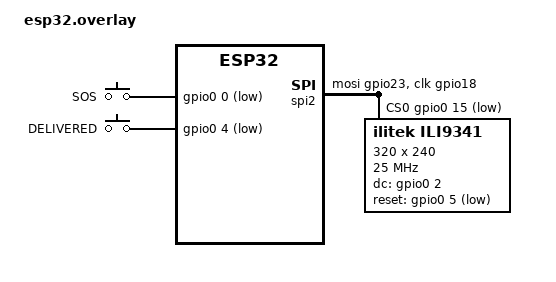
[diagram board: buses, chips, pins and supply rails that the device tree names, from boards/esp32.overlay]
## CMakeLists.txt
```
cmake_minimum_required(VERSION 3.20.0)

# Find Zephyr before the project() call so the toolchain is set correctly.
find_package(Zephyr REQUIRED HINTS $ENV{ZEPHYR_BASE})

project(courier_rugged VERSION 1.0.0 LANGUAGES C)

# =============================================================================
# Source files
# =============================================================================
target_sources(app PRIVATE
    src/main.c
    src/mqtt_handler.c
    src/gps_task.c
    src/courier_state.c
    src/ui/ui.c
)

# =============================================================================
# Include directories
# =============================================================================
target_include_directories(app PRIVATE
    src
    src/ui
)

# =============================================================================
# Compile definitions
# =============================================================================
# Set at build time: employee ID, WiFi credentials, broker address.
# Override via: cmake -DEMPLOYEE_ID='"E042"' ...
# In the future these come from NVS provisioning, not compile-time constants.
if(NOT DEFINED EMPLOYEE_ID)
    set(EMPLOYEE_ID "\"E001\"")
endif()
if(NOT DEFINED WIFI_SSID)
    set(WIFI_SSID "\"DHL_Logistics\"")
endif()
if(NOT DEFINED WIFI_PSK)
    set(WIFI_PSK "\"changeme\"")
endif()
if(NOT DEFINED MQTT_BROKER_ADDR)
    set(MQTT_BROKER_ADDR "\"192.168.1.100\"")   # RabbitMQ host (host-gateway)
endif()
if(NOT DEFINED MQTT_BROKER_PORT)
    set(MQTT_BROKER_PORT 1883)
endif()

target_compile_definitions(app PRIVATE
    EMPLOYEE_ID=${EMPLOYEE_ID}
    WIFI_SSID=${WIFI_SSID}
    WIFI_PSK=${WIFI_PSK}
    MQTT_BROKER_ADDR=${MQTT_BROKER_ADDR}
    MQTT_BROKER_PORT=${MQTT_BROKER_PORT}
)
```

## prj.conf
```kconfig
# =============================================================================
# Courier Rugged System — Zephyr project configuration
# Target: ESP32 (esp32_devkitc_wroom)
# =============================================================================

# -----------------------------------------------------------------------------
# Networking — WiFi + TCP/IP stack
# -----------------------------------------------------------------------------
CONFIG_WIFI=y
CONFIG_ESP32_WIFI=y
CONFIG_NET_L2_ETHERNET=y
CONFIG_NET_IPV4=y
CONFIG_NET_TCP=y
CONFIG_NET_SOCKETS=y
CONFIG_NET_SOCKETS_POSIX_NAMES=y
CONFIG_NET_DHCPV4=y
CONFIG_DNS_RESOLVER=y

# Network buffer pool — sized for MQTT + JSON payloads
CONFIG_NET_PKT_RX_COUNT=16
CONFIG_NET_PKT_TX_COUNT=16
CONFIG_NET_BUF_RX_COUNT=64
CONFIG_NET_BUF_TX_COUNT=64

# -----------------------------------------------------------------------------
# MQTT
# -----------------------------------------------------------------------------
CONFIG_MQTT_LIB=y
CONFIG_MQTT_CLEAN_SESSION=y
# Keep-alive interval in seconds (half the broker's session timeout)
CONFIG_MQTT_KEEPALIVE=60
# Maximum MQTT packet size: enough for a route list of ~20 stops
CONFIG_MQTT_LIB_TLS_MAX_FRAGMENT_LEN=0

# -----------------------------------------------------------------------------
# JSON
# -----------------------------------------------------------------------------
CONFIG_JSON_LIBRARY=y

# -----------------------------------------------------------------------------
# LVGL — embedded GUI
# -----------------------------------------------------------------------------
CONFIG_LVGL=y
CONFIG_LV_USE_LABEL=y
CONFIG_LV_USE_BTN=y
CONFIG_LV_USE_CONT=y
CONFIG_LV_USE_STYLE=y
CONFIG_LV_FONT_DEFAULT_MONTSERRAT_14=y
# Display driver — SPI-connected ILI9341 (320x240)
CONFIG_DISPLAY=y
CONFIG_DISPLAY_ILI9341=y
CONFIG_SPI=y

# -----------------------------------------------------------------------------
# GPIO — buttons
# -----------------------------------------------------------------------------
CONFIG_GPIO=y

# -----------------------------------------------------------------------------
# Heap & stacks
# -----------------------------------------------------------------------------
CONFIG_HEAP_MEM_POOL_SIZE=32768
CONFIG_MAIN_STACK_SIZE=4096
CONFIG_SYSTEM_WORKQUEUE_STACK_SIZE=2048

# -----------------------------------------------------------------------------
# Threads
# -----------------------------------------------------------------------------
CONFIG_NUM_PREEMPT_PRIORITIES=16
CONFIG_THREAD_STACK_INFO=y
CONFIG_THREAD_NAME=y

# -----------------------------------------------------------------------------
# Logging
# -----------------------------------------------------------------------------
CONFIG_LOG=y
CONFIG_LOG_DEFAULT_LEVEL=3
CONFIG_LOG_BACKEND_UART=y
CONFIG_UART_CONSOLE=y

# -----------------------------------------------------------------------------
# NVS — non-volatile storage for employee_id and WiFi credentials
# -----------------------------------------------------------------------------
CONFIG_NVS=y
CONFIG_FLASH=y
CONFIG_FLASH_MAP=y

# -----------------------------------------------------------------------------
# RTC / Uptime for timestamps
# -----------------------------------------------------------------------------
CONFIG_CLOCK_CONTROL=y

# -----------------------------------------------------------------------------
# Assertions (disable in production to save flash)
# -----------------------------------------------------------------------------
CONFIG_ASSERT=y
```

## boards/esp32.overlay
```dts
/*
 * boards/esp32.overlay
 * Device-tree overlay for ESP32 DevKitC WROOM
 *
 * Wiring assumed:
 *   SOS button      GPIO 0  (active-low, internal pull-up)
 *   Delivered button GPIO 4  (active-low, internal pull-up)
 *   ILI9341 CS      GPIO 15
 *   ILI9341 DC      GPIO 2
 *   ILI9341 RESET   GPIO 5
 *   ILI9341 MOSI    GPIO 23  (SPI2 MOSI)
 *   ILI9341 CLK     GPIO 18  (SPI2 CLK)
 */

/ {
    buttons {
        compatible = "gpio-keys";

        sos_button: sos_button {
            label = "SOS";
            gpios = <&gpio0 0 (GPIO_ACTIVE_LOW | GPIO_PULL_UP)>;
        };

        delivered_button: delivered_button {
            label = "DELIVERED";
            gpios = <&gpio0 4 (GPIO_ACTIVE_LOW | GPIO_PULL_UP)>;
        };
    };

    aliases {
        sos-btn       = &sos_button;
        delivered-btn = &delivered_button;
    };
};

/* ILI9341 over SPI2 */
&spi2 {
    status = "okay";
    pinctrl-0 = <&spim2_mosi_gpio23 &spim2_clk_gpio18>;
    pinctrl-names = "default";
    cs-gpios = <&gpio0 15 GPIO_ACTIVE_LOW>;

    ili9341: ili9341@0 {
        compatible = "ilitek,ili9341";
        reg = <0>;
        spi-max-frequency = <25000000>;
        width  = <320>;
        height = <240>;
        dc-gpios    = <&gpio0 2  GPIO_ACTIVE_HIGH>;
        reset-gpios = <&gpio0 5  GPIO_ACTIVE_LOW>;
    };
};
```

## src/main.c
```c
/**
 * @file main.c
 * @brief Courier Rugged System — Zephyr RTOS entry point.
 *
 * Thread layout and priorities (lower number = higher priority):
 *
 *   Priority 5  SOS ISR thread        — gpio callback → k_sem → publish
 *   Priority 6  Delivered ISR thread  — gpio callback → k_sem → publish
 *   Priority 7  MQTT handler thread   — receive loop, keepalive
 *   Priority 7  GPS work (workqueue)  — k_work_delayable, 5-second interval
 *   Priority 10 UI task               — LVGL tick, 10 ms
 *
 */

#include "courier_state.h"
#include "gps_task.h"
#include "mqtt_handler.h"
#include "ui/ui.h"

#include <zephyr/drivers/gpio.h>
#include <zephyr/kernel.h>
#include <zephyr/logging/log.h>
#include <zephyr/net/net_event.h>
#include <zephyr/net/net_if.h>
#include <zephyr/net/wifi_mgmt.h>

LOG_MODULE_REGISTER(main, LOG_LEVEL_INF);

/* ---------------------------------------------------------------------------
 * Thread stacks and definitions
 * ------------------------------------------------------------------------- */

#define MQTT_TASK_STACK 4096
#define SOS_TASK_STACK 2048
#define DELIVERED_STACK 2048
#define UI_TASK_STACK 4096

K_THREAD_STACK_DEFINE(mqtt_stack, MQTT_TASK_STACK);
K_THREAD_STACK_DEFINE(sos_stack, SOS_TASK_STACK);
K_THREAD_STACK_DEFINE(delivered_stack, DELIVERED_STACK);
K_THREAD_STACK_DEFINE(ui_stack, UI_TASK_STACK);

static struct k_thread mqtt_thread;
static struct k_thread sos_thread;
static struct k_thread delivered_thread;
static struct k_thread ui_thread;

/* ---------------------------------------------------------------------------
 * Button GPIO
 * ------------------------------------------------------------------------- */

static const struct gpio_dt_spec s_sos_btn = GPIO_DT_SPEC_GET(DT_ALIAS(sos_btn), gpios);
static const struct gpio_dt_spec s_delivered_btn = GPIO_DT_SPEC_GET(DT_ALIAS(delivered_btn), gpios);

static struct gpio_callback s_sos_cb_data;
static struct gpio_callback s_delivered_cb_data;

/* Semaphores — ISR signals, task waits */
static K_SEM_DEFINE(s_sos_sem, 0, 1);
static K_SEM_DEFINE(s_delivered_sem, 0, 1);

static void sos_isr(const struct device* dev, struct gpio_callback* cb, uint32_t pins)
{
    ARG_UNUSED(dev);
    ARG_UNUSED(cb);
    ARG_UNUSED(pins);
    k_sem_give(&s_sos_sem);
}

static void delivered_isr(const struct device* dev, struct gpio_callback* cb, uint32_t pins)
{
    ARG_UNUSED(dev);
    ARG_UNUSED(cb);
    ARG_UNUSED(pins);
    k_sem_give(&s_delivered_sem);
}

/* ---------------------------------------------------------------------------
 * SOS thread — priority 5 (highest in the system)
 * Waits on semaphore given by GPIO ISR. No other work happens here.
 * ------------------------------------------------------------------------- */

static void sos_task(void* p1, void* p2, void* p3)
{
    ARG_UNUSED(p1);
    ARG_UNUSED(p2);
    ARG_UNUSED(p3);
    LOG_INF("SOS task ready");

    while (1)
    {
        k_sem_take(&s_sos_sem, K_FOREVER);

        LOG_WRN("SOS activated!");

        gps_fix_t fix;
        courier_state_get_gps(&fix);
        mqtt_handler_publish_sos(fix.lat_e6, fix.lon_e6);

        /* Debounce: ignore repeated presses for 500 ms */
        k_sleep(K_MSEC(500));
    }
}

/* ---------------------------------------------------------------------------
 * Delivered thread — priority 6
 * ------------------------------------------------------------------------- */

static void delivered_task(void* p1, void* p2, void* p3)
{
    ARG_UNUSED(p1);
    ARG_UNUSED(p2);
    ARG_UNUSED(p3);
    LOG_INF("Delivered task ready");

    while (1)
    {
        k_sem_take(&s_delivered_sem, K_FOREVER);

        char stop_name[MAX_STOP_NAME];
        courier_state_get_current_stop(stop_name, sizeof(stop_name));
        mqtt_handler_publish_delivered(stop_name);
        courier_state_advance_stop();
        ui_notify_route_updated();

        k_sleep(K_MSEC(300));
    }
}

/* ---------------------------------------------------------------------------
 * WiFi — connect and wait for IP address
 * ------------------------------------------------------------------------- */

static struct net_mgmt_event_callback s_wifi_cb;
static K_SEM_DEFINE(s_wifi_sem, 0, 1);

static void wifi_event_handler(struct net_mgmt_event_callback* cb, uint32_t mgmt_event, struct net_if* iface)
{
    ARG_UNUSED(cb);
    ARG_UNUSED(iface);

    if (mgmt_event == NET_EVENT_IPV4_ADDR_ADD)
    {
        LOG_INF("WiFi: IP address assigned");
        k_sem_give(&s_wifi_sem);
    }
}

static int wifi_connect(void)
{
    struct net_if* iface = net_if_get_default();

    net_mgmt_init_event_callback(&s_wifi_cb, wifi_event_handler, NET_EVENT_IPV4_ADDR_ADD);
    net_mgmt_add_event_callback(&s_wifi_cb);

    struct wifi_connect_req_params params = {
        .ssid = (uint8_t*)WIFI_SSID,
        .ssid_length = strlen(WIFI_SSID),
        .psk = (uint8_t*)WIFI_PSK,
        .psk_length = strlen(WIFI_PSK),
        .security = WIFI_SECURITY_TYPE_PSK,
        .channel = WIFI_CHANNEL_ANY,
    };

    int rc = net_mgmt(NET_REQUEST_WIFI_CONNECT, iface, &params, sizeof(params));
    if (rc != 0)
    {
        LOG_ERR("WiFi connect request failed: %d", rc);
        return rc;
    }

    LOG_INF("WiFi: connecting to %s ...", WIFI_SSID);

    /* Wait up to 30 seconds for IP assignment */
    if (k_sem_take(&s_wifi_sem, K_SECONDS(30)) != 0)
    {
        LOG_ERR("WiFi: timed out waiting for IP");
        return -ETIMEDOUT;
    }

    return 0;
}

/* ---------------------------------------------------------------------------
 * GPIO button initialisation
 * ------------------------------------------------------------------------- */

static int buttons_init(void)
{
    int rc;

    if (!device_is_ready(s_sos_btn.port) || !device_is_ready(s_delivered_btn.port))
    {
        LOG_ERR("Button GPIO devices not ready");
        return -ENODEV;
    }

    rc = gpio_pin_configure_dt(&s_sos_btn, GPIO_INPUT);
    if (rc != 0)
    {
        LOG_ERR("SOS pin config failed: %d", rc);
        return rc;
    }

    rc = gpio_pin_configure_dt(&s_delivered_btn, GPIO_INPUT);
    if (rc != 0)
    {
        LOG_ERR("Delivered pin config failed: %d", rc);
        return rc;
    }

    gpio_init_callback(&s_sos_cb_data, sos_isr, BIT(s_sos_btn.pin));
    gpio_init_callback(&s_delivered_cb_data, delivered_isr, BIT(s_delivered_btn.pin));

    gpio_add_callback(s_sos_btn.port, &s_sos_cb_data);
    gpio_add_callback(s_delivered_btn.port, &s_delivered_cb_data);

    gpio_pin_interrupt_configure_dt(&s_sos_btn, GPIO_INT_EDGE_TO_ACTIVE);
    gpio_pin_interrupt_configure_dt(&s_delivered_btn, GPIO_INT_EDGE_TO_ACTIVE);

    LOG_INF("Buttons initialised (SOS=GPIO%d, Delivered=GPIO%d)", s_sos_btn.pin, s_delivered_btn.pin);
    return 0;
}

/* ---------------------------------------------------------------------------
 * main()
 * ------------------------------------------------------------------------- */

int main(void)
{
    LOG_INF("=== DHL Courier Rugged System v1.0 ===");
    LOG_INF("Employee: %s", EMPLOYEE_ID);

    /* 1. Shared state */
    courier_state_init(EMPLOYEE_ID);

    /* 2. GPIO buttons (interrupts ready before network) */
    if (buttons_init() != 0)
    {
        LOG_ERR("Button init failed — SOS unavailable");
        /* Non-fatal: continue without hardware buttons */
    }

    /* 3. Start UI task early so the screen shows a "Connecting..." state
     *    while WiFi and MQTT negotiate. */
    k_thread_create(&ui_thread, ui_stack, UI_TASK_STACK, ui_task, NULL, NULL, NULL, 10, 0, K_NO_WAIT);
    k_thread_name_set(&ui_thread, "ui");

    /* 4. Connect to WiFi */
    if (wifi_connect() != 0)
    {
        LOG_ERR("WiFi connection failed — retrying in 10 s");
        k_sleep(K_SECONDS(10));
        /* In production: persist state to NVS and reset */
    }

    /* 5. Connect to MQTT broker (RabbitMQ MQTT plugin on port 1883) */
    int rc = mqtt_handler_init(MQTT_BROKER_ADDR, MQTT_BROKER_PORT, EMPLOYEE_ID);
    if (rc != MQTT_OK)
    {
        LOG_ERR("MQTT init failed: %d", rc);
        /* The MQTT task will retry automatically */
    }

    /* 6. Subscribe to routes/{employee_id} */
    mqtt_handler_subscribe_routes();

    /* 7. Start the MQTT receive/keepalive task */
    k_thread_create(&mqtt_thread, mqtt_stack, MQTT_TASK_STACK, mqtt_handler_task, NULL, NULL, NULL, 7, 0, K_NO_WAIT);
    k_thread_name_set(&mqtt_thread, "mqtt");

    /* 8. Start SOS thread (highest priority) */
    k_thread_create(&sos_thread, sos_stack, SOS_TASK_STACK, sos_task, NULL, NULL, NULL, 5, 0, K_NO_WAIT);
    k_thread_name_set(&sos_thread, "sos");

    /* 9. Start Delivered thread */
    k_thread_create(&delivered_thread, delivered_stack, DELIVERED_STACK, delivered_task, NULL, NULL, NULL, 6, 0,
                    K_NO_WAIT);
    k_thread_name_set(&delivered_thread, "delivered");

    /* 10. Start GPS polling (k_work_delayable on system workqueue) */
    gps_task_init();

    LOG_INF("All tasks started — device operational");
    return 0;
}
```

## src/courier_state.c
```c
#include "courier_state.h"

#include <string.h>

#if defined(__ZEPHYR__)
#include <zephyr/logging/log.h>
#else
#include <pthread.h>
#include <stdio.h>

#define LOG_MODULE_REGISTER(name, level)
#define LOG_INF(...)                                                                                                   \
    do                                                                                                                 \
    {                                                                                                                  \
        fprintf(stderr, __VA_ARGS__);                                                                                  \
        fputc('\n', stderr);                                                                                           \
    } while (0)
#define LOG_DBG(...)                                                                                                   \
    do                                                                                                                 \
    {                                                                                                                  \
    } while (0)
#define LOG_WRN(...)                                                                                                   \
    do                                                                                                                 \
    {                                                                                                                  \
        fprintf(stderr, __VA_ARGS__);                                                                                  \
        fputc('\n', stderr);                                                                                           \
    } while (0)
#define LOG_ERR(...)                                                                                                   \
    do                                                                                                                 \
    {                                                                                                                  \
        fprintf(stderr, __VA_ARGS__);                                                                                  \
        fputc('\n', stderr);                                                                                           \
    } while (0)

/* Only define mutex stubs when NOT in simulation mode (main_sim.cpp provides them in simulation) */
#ifndef COURIER_SIMULATION
static inline int k_mutex_init(struct k_mutex* mu)
{
    return pthread_mutex_init(&mu->m, NULL);
}

static inline int k_mutex_lock(struct k_mutex* mu, int timeout)
{
    (void)timeout;
    return pthread_mutex_lock(&mu->m);
}

static inline int k_mutex_unlock(struct k_mutex* mu)
{
    return pthread_mutex_unlock(&mu->m);
}
#endif /* COURIER_SIMULATION */
#endif

LOG_MODULE_REGISTER(courier_state, LOG_LEVEL_DBG);

courier_state_t g_courier;

void courier_state_init(const char* employee_id)
{
    k_mutex_init(&g_courier.lock);

    k_mutex_lock(&g_courier.lock, K_FOREVER);
    memset(&g_courier, 0, sizeof(g_courier));
    k_mutex_init(&g_courier.lock); /* re-init after memset */
    strncpy(g_courier.employee_id, employee_id, MAX_EMPLOYEE_ID - 1);
    g_courier.employee_id[MAX_EMPLOYEE_ID - 1] = '\0';
    g_courier.stop_count = 0;
    g_courier.current_stop_idx = 0;
    g_courier.gps.fix_valid = false;
    k_mutex_unlock(&g_courier.lock);

    LOG_INF("State initialised for employee: %s", employee_id);
}

bool courier_state_get_current_stop(char* buf, size_t buf_len)
{
    bool ok = false;

    k_mutex_lock(&g_courier.lock, K_FOREVER);
    if (g_courier.stop_count > 0 && g_courier.current_stop_idx < g_courier.stop_count)
    {
        strncpy(buf, g_courier.stops[g_courier.current_stop_idx], buf_len - 1);
        buf[buf_len - 1] = '\0';
        ok = true;
    }
    else
    {
        strncpy(buf, "---", buf_len - 1);
        buf[buf_len - 1] = '\0';
    }
    k_mutex_unlock(&g_courier.lock);
    return ok;
}

bool courier_state_get_next_stop(char* buf, size_t buf_len)
{
    bool ok = false;

    k_mutex_lock(&g_courier.lock, K_FOREVER);
    int next = g_courier.current_stop_idx + 1;
    if (next < g_courier.stop_count)
    {
        strncpy(buf, g_courier.stops[next], buf_len - 1);
        buf[buf_len - 1] = '\0';
        ok = true;
    }
    else
    {
        strncpy(buf, "---", buf_len - 1);
        buf[buf_len - 1] = '\0';
    }
    k_mutex_unlock(&g_courier.lock);
    return ok;
}

bool courier_state_advance_stop(void)
{
    bool more = false;

    k_mutex_lock(&g_courier.lock, K_FOREVER);
    if (g_courier.current_stop_idx + 1 < g_courier.stop_count)
    {
        g_courier.current_stop_idx++;
        more = true;
        LOG_INF("Advanced to stop %d: %s", g_courier.current_stop_idx, g_courier.stops[g_courier.current_stop_idx]);
    }
    else
    {
        LOG_INF("All stops completed.");
    }
    k_mutex_unlock(&g_courier.lock);
    return more;
}

void courier_state_update_gps(int32_t lat_e6, int32_t lon_e6, bool valid)
{
    k_mutex_lock(&g_courier.lock, K_FOREVER);
    g_courier.gps.lat_e6 = lat_e6;
    g_courier.gps.lon_e6 = lon_e6;
    g_courier.gps.fix_valid = valid;
    k_mutex_unlock(&g_courier.lock);
}

void courier_state_get_gps(gps_fix_t* out)
{
    k_mutex_lock(&g_courier.lock, K_FOREVER);
    *out = g_courier.gps;
    k_mutex_unlock(&g_courier.lock);
}
```

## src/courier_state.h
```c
/**
 * @file courier_state.h
 * @brief Shared courier state — stop list, current position, GPS fix.
 *
 * All fields are protected by a single mutex so any task can safely read or write.
 */

#ifndef COURIER_STATE_H
#define COURIER_STATE_H

#include <stdbool.h>
#include <stddef.h>
#include <stdint.h>

#if defined(__ZEPHYR__)
#include <zephyr/kernel.h>
#else
#include <pthread.h>

/* Host-test compatibility path (no Zephyr SDK). */
#define ZEPHYR_STUB_TYPES 1

struct k_mutex
{
    pthread_mutex_t m;
};

/* Declare but don't define — they will be defined as static inline in courier_state.c */
int k_mutex_init(struct k_mutex* mu);
int k_mutex_lock(struct k_mutex* mu, int timeout);
int k_mutex_unlock(struct k_mutex* mu);

#ifndef K_FOREVER
#define K_FOREVER (-1)
#endif
#endif

/** Maximum number of stops in a single route. */
#define MAX_STOPS 32

/** Maximum length of a stop name, including null terminator. */
#define MAX_STOP_NAME 64

/** Employee ID string maximum length. */
#define MAX_EMPLOYEE_ID 32

/**
 * @brief GPS fix data.
 * lat and lon are in decimal degrees × 1e6 (integer fixed-point).
 * fix_valid is false when the GPS module has not yet acquired a fix.
 */
typedef struct
{
    int32_t lat_e6; /**< Latitude  × 1,000,000 (e.g. -31400000 = -31.4°) */
    int32_t lon_e6; /**< Longitude × 1,000,000 */
    bool fix_valid; /**< True once a valid fix has been received. */
} gps_fix_t;

/**
 * @brief Complete courier runtime state.
 */
typedef struct
{
    /** Protects all fields below. Acquire before any read or write. */
    struct k_mutex lock;

    /** Employee identifier string, e.g. "E042". */
    char employee_id[MAX_EMPLOYEE_ID];

    /** Ordered list of stop names received from routes/{employee_id}. */
    char stops[MAX_STOPS][MAX_STOP_NAME];

    /** Number of valid entries in stops[]. */
    int stop_count;

    /** Index of the stop the courier is currently heading to. */
    int current_stop_idx;

    /** Latest GPS fix. */
    gps_fix_t gps;
} courier_state_t;

/* -------------------------------------------------------------------------
 * Global instance — defined in courier_state.c
 * ------------------------------------------------------------------------- */
extern courier_state_t g_courier;

/**
 * @brief Initialise the global state and its mutex.
 * Must be called once from main() before any task starts.
 */
void courier_state_init(const char* employee_id);

/**
 * @brief Copy the current stop name into buf (null-terminated).
 * Returns false and writes "---" if no stops are loaded.
 */
bool courier_state_get_current_stop(char* buf, size_t buf_len);

/**
 * @brief Copy the next stop name into buf (null-terminated).
 * Returns false and writes "---" if this is the last stop.
 */
bool courier_state_get_next_stop(char* buf, size_t buf_len);

/**
 * @brief Advance to the next stop. Returns true if there are more stops.
 */
bool courier_state_advance_stop(void);

/**
 * @brief Update the GPS fix. Thread-safe.
 */
void courier_state_update_gps(int32_t lat_e6, int32_t lon_e6, bool valid);

/**
 * @brief Copy the current GPS fix. Thread-safe.
 */
void courier_state_get_gps(gps_fix_t* out);

#endif /* COURIER_STATE_H */
```

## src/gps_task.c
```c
#include "gps_task.h"
#include "courier_state.h"
#include "mqtt_handler.h"

#include <zephyr/kernel.h>
#include <zephyr/logging/log.h>

LOG_MODULE_REGISTER(gps_task, LOG_LEVEL_DBG);

/* ---------------------------------------------------------------------------
 * k_work_delayable — GPS publish work item.
 *
 * Using k_work_delayable (not a bare timer) means the GPS work runs on the
 * system workqueue thread, not in interrupt context. It can therefore safely
 * call mqtt_handler_publish_tracking() which acquires a mutex.
 *
 * The work handler reschedules itself — this creates a self-perpetuating
 * 5-second cycle without any dedicated GPS thread.
 * ------------------------------------------------------------------------- */

#define GPS_INTERVAL_MS 5000

static struct k_work_delayable s_gps_work;

/* ---------------------------------------------------------------------------
 * Hardware abstraction — replace with real UART/I2C GPS driver.
 *
 * In simulation (Qt build) this is replaced by gps_task_sim.c which feeds
 * scripted coordinates. On hardware, connect a NMEA GPS module to UART1 and
 * parse $GPRMC or $GPGGA sentences.
 * ------------------------------------------------------------------------- */

__attribute__((weak))
bool gps_hal_read(int32_t *lat_e6, int32_t *lon_e6)
{
    /* Default stub: no fix. Replace with real driver. */
    (void)lat_e6;
    (void)lon_e6;
    return false;
}

/* ---------------------------------------------------------------------------
 * Work handler — runs on system workqueue every GPS_INTERVAL_MS
 * ------------------------------------------------------------------------- */

static void gps_work_handler(struct k_work *work)
{
    int32_t lat_e6, lon_e6;
    bool    fix_valid = gps_hal_read(&lat_e6, &lon_e6);

    if (!fix_valid)
    {
        LOG_WRN("GPS: no fix — will retry in %d ms", GPS_INTERVAL_MS);
        /* Update state with invalid fix so UI can show "No GPS" if needed */
        courier_state_update_gps(0, 0, false);
    }
    else
    {
        LOG_DBG("GPS fix: lat=%d.%06d lon=%d.%06d",
                (int)(lat_e6 / 1000000), (int)abs(lat_e6 % 1000000),
                (int)(lon_e6 / 1000000), (int)abs(lon_e6 % 1000000));

        courier_state_update_gps(lat_e6, lon_e6, true);
        mqtt_handler_publish_tracking(lat_e6, lon_e6, true);
    }

    /* Reschedule — always, whether fix was valid or not */
    k_work_reschedule(&s_gps_work, K_MSEC(GPS_INTERVAL_MS));
}

/* ---------------------------------------------------------------------------
 * Public API
 * ------------------------------------------------------------------------- */

void gps_task_init(void)
{
    k_work_init_delayable(&s_gps_work, gps_work_handler);
    /* First execution after 1 s to let the network stack settle */
    k_work_schedule(&s_gps_work, K_SECONDS(1));
    LOG_INF("GPS task scheduled (interval=%d ms)", GPS_INTERVAL_MS);
}
```

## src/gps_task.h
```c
#ifndef GPS_TASK_H
#define GPS_TASK_H

#include <stdbool.h>
#include <stdint.h>

/**
 * @brief Initialise and start the GPS polling work item.
 * Safe to call from main() after WiFi and MQTT are up.
 */
void gps_task_init(void);

/**
 * @brief GPS hardware abstraction — implemented by the BSP or simulation.
 *
 * @param lat_e6  Output latitude  × 1e6.
 * @param lon_e6  Output longitude × 1e6.
 * @return true if a valid fix was obtained, false otherwise.
 */
bool gps_hal_read(int32_t *lat_e6, int32_t *lon_e6);

#endif /* GPS_TASK_H */
```

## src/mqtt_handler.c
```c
#include "mqtt_handler.h"
#include "courier_state.h"
#include "ui/ui.h"

#include <stdio.h>
#include <stdlib.h>
#include <string.h>

#if defined(COURIER_SIMULATION) && defined(MQTT_BACKEND_MOSQUITTO)
#include <mosquitto.h>
#endif

#ifndef COURIER_SIMULATION
#include <zephyr/data/json.h>
#include <zephyr/kernel.h>
#include <zephyr/logging/log.h>
#include <zephyr/net/mqtt.h>
#include <zephyr/net/socket.h>

LOG_MODULE_REGISTER(mqtt_handler, LOG_LEVEL_DBG);
#else
/* Simulation stubs — allow compilation without Zephyr */
#define LOG_INF(fmt, ...) printf("[INFO] " fmt "\n", ##__VA_ARGS__)
#define LOG_ERR(fmt, ...) printf("[ERROR] " fmt "\n", ##__VA_ARGS__)
#define LOG_WRN(fmt, ...) printf("[WARN] " fmt "\n", ##__VA_ARGS__)
#define LOG_DBG(fmt, ...) printf("[DEBUG] " fmt "\n", ##__VA_ARGS__)
#define ARG_UNUSED(x) (void)(x)
#endif

#ifndef COURIER_SIMULATION

/* ---------------------------------------------------------------------------
 * Constants (Zephyr build only)
 * ------------------------------------------------------------------------- */

#define MQTT_RX_BUF_SIZE 1024
#define MQTT_TX_BUF_SIZE 512
#define TOPIC_BUF_SIZE 64
#define PAYLOAD_BUF_SIZE 256
#define CONNECT_TIMEOUT_MS 10000
#define KEEPALIVE_TIMEOUT K_SECONDS(30)

/* ---------------------------------------------------------------------------
 * Static state (Zephyr build only)
 * ------------------------------------------------------------------------- */

static struct mqtt_client s_client;
static struct sockaddr_in s_broker;
static uint8_t s_rx_buf[MQTT_RX_BUF_SIZE];
static uint8_t s_tx_buf[MQTT_TX_BUF_SIZE];
static char s_employee_id[MAX_EMPLOYEE_ID];

/* Mutex protecting s_client from concurrent publishes. */
static struct k_mutex s_mqtt_mutex;

/* Semaphore signalled when CONNACK is received. */
static struct k_sem s_connack_sem;

#else

/* Simulation stubs for static state */
#define MQTT_RX_BUF_SIZE 1024
#define MQTT_TX_BUF_SIZE 512
#define TOPIC_BUF_SIZE 64
#define PAYLOAD_BUF_SIZE 256
static char s_employee_id[MAX_EMPLOYEE_ID];

#endif /* COURIER_SIMULATION */

/* ---------------------------------------------------------------------------
 * Topic helpers
 * ------------------------------------------------------------------------- */

static void make_topic(char* buf, size_t len, const char* prefix)
{
    snprintf(buf, len, "%s/%s", prefix, s_employee_id);
}

static void make_topic_sos(char* buf, size_t len)
{
    snprintf(buf, len, "alerts/sos/%s", s_employee_id);
}

/* ---------------------------------------------------------------------------
 * Timestamp helper (Zephyr uptime in ISO-like format). With the esp32 we could use the
 * built-in RTC for real timestamps, but for simplicity we just use uptime here.
 * In simulation, use a simple counter.
 * ------------------------------------------------------------------------- */

static void get_timestamp(char* buf, size_t len)
{
#ifndef COURIER_SIMULATION
    int64_t ms = k_uptime_get();
    snprintf(buf, len, "T+%lld", (long long)ms);
#else
    static int sim_counter = 0;
    snprintf(buf, len, "T+%d", sim_counter++);
#endif
}

/* ---------------------------------------------------------------------------
 * Route JSON parser
 *
 * Expected payload: ["Stop A", "Stop B", "Stop C"]
 * Shared by both Zephyr and simulation builds.
 * Uses g_courier.lock which is guarded by k_mutex (works in both modes).
 * ------------------------------------------------------------------------- */

static void parse_and_store_route(const char* payload, size_t len)
{
    /* The payload is a JSON array of strings. Walk it manually. */
    k_mutex_lock(&g_courier.lock, K_FOREVER);
    g_courier.stop_count = 0;
    g_courier.current_stop_idx = 0;
    k_mutex_unlock(&g_courier.lock);

    /* Find opening bracket */
    const char* p = payload;
    const char* end = payload + len;
    while (p < end && *p != '[')
        p++;
    if (p >= end)
    {
        LOG_ERR("Route: no opening bracket");
        return;
    }
    p++; /* skip '[' */

    int count = 0;
    while (p < end && count < MAX_STOPS)
    {
        /* Skip whitespace and commas */
        while (p < end && (*p == ' ' || *p == ',' || *p == '\n' || *p == '\r'))
            p++;
        if (p >= end || *p == ']')
            break;

        if (*p != '"')
        {
            p++;
            continue;
        }
        p++; /* skip opening quote */

        /* Extract string until closing quote */
        const char* start = p;
        while (p < end && *p != '"')
            p++;

        size_t slen = (size_t)(p - start);
        if (slen >= MAX_STOP_NAME)
            slen = MAX_STOP_NAME - 1;

        k_mutex_lock(&g_courier.lock, K_FOREVER);
        memcpy(g_courier.stops[count], start, slen);
        g_courier.stops[count][slen] = '\0';
        count++;
        g_courier.stop_count = count;
        k_mutex_unlock(&g_courier.lock);

        if (p < end)
            p++; /* skip closing quote */
    }

    LOG_INF("Route loaded: %d stops", count);

    /* Notify UI so it can refresh immediately */
    ui_notify_route_updated();
}

#ifndef COURIER_SIMULATION

/* ---------------------------------------------------------------------------
 * MQTT event callback — called by the Zephyr MQTT stack from mqtt_input()
 * (Zephyr build only)
 * ------------------------------------------------------------------------- */

static void mqtt_event_handler(struct mqtt_client* client, const struct mqtt_evt* evt)
{
    switch (evt->type)
    {
    case MQTT_EVT_CONNACK:
        if (evt->result == 0)
        {
            LOG_INF("MQTT connected (session_present=%d)", evt->param.connack.session_present_flag);
            k_sem_give(&s_connack_sem);
        }
        else
        {
            LOG_ERR("MQTT CONNACK error: %d", evt->result);
        }
        break;

    case MQTT_EVT_DISCONNECT:
        LOG_WRN("MQTT disconnected: %d", evt->result);
        break;

    case MQTT_EVT_PUBLISH: {
        const struct mqtt_publish_param* p = &evt->param.publish;
        LOG_INF("MQTT message on topic: %.*s  len=%d", p->message.topic.topic.size,
                (const char*)p->message.topic.topic.utf8, p->message.payload.len);

        /* Read the payload. mqtt_read_publish_payload returns the number
         * of bytes read; the message may be fragmented so we loop. */
        static char payload[MQTT_RX_BUF_SIZE];
        int remaining = p->message.payload.len;
        int offset = 0;

        while (remaining > 0 && offset < (int)sizeof(payload) - 1)
        {
            int rc = mqtt_read_publish_payload(client, payload + offset, remaining);
            if (rc < 0)
            {
                LOG_ERR("Failed to read payload: %d", rc);
                break;
            }
            offset += rc;
            remaining -= rc;
        }
        payload[offset] = '\0';

        /* Route the message by topic prefix */
        char routes_topic[TOPIC_BUF_SIZE];
        make_topic(routes_topic, sizeof(routes_topic), "routes");

        if (strncmp((const char*)p->message.topic.topic.utf8, routes_topic, p->message.topic.topic.size) == 0)
        {
            parse_and_store_route(payload, (size_t)offset);
        }

        /* Send PUBACK for QoS 1 */
        if (p->message.topic.qos == MQTT_QOS_1_AT_LEAST_ONCE)
        {
            struct mqtt_puback_param puback = {.message_id = p->message_id};
            mqtt_publish_qos1_ack(client, &puback);
        }
        break;
    }

    case MQTT_EVT_SUBACK:
        LOG_INF("MQTT SUBACK received (message_id=%d)", evt->param.suback.message_id);
        break;

    case MQTT_EVT_PUBACK:
        LOG_DBG("MQTT PUBACK received (message_id=%d)", evt->param.puback.message_id);
        break;

    default:
        break;
    }
}

/* ---------------------------------------------------------------------------
 * Public API
 * ------------------------------------------------------------------------- */

mqtt_result_t mqtt_handler_init(const char* broker_addr, uint16_t broker_port, const char* employee_id)
{
    k_mutex_init(&s_mqtt_mutex);
    k_sem_init(&s_connack_sem, 0, 1);
    strncpy(s_employee_id, employee_id, MAX_EMPLOYEE_ID - 1);
    s_employee_id[MAX_EMPLOYEE_ID - 1] = '\0';

    /* Build broker address */
    memset(&s_broker, 0, sizeof(s_broker));
    s_broker.sin_family = AF_INET;
    s_broker.sin_port = htons(broker_port);
    net_addr_pton(AF_INET, broker_addr, &s_broker.sin_addr);

    /* Initialise MQTT client */
    mqtt_client_init(&s_client);

    s_client.broker = (struct sockaddr*)&s_broker;
    s_client.evt_cb = mqtt_event_handler;
    s_client.client_id.utf8 = (uint8_t*)s_employee_id;
    s_client.client_id.size = strlen(s_employee_id);
    s_client.protocol_version = MQTT_VERSION_3_1_1;
    s_client.clean_session = 1;
    s_client.keepalive = 60;

    /* RabbitMQ MQTT plugin requires basic auth if the vhost is not "/":
     * set username to "guest:/" (user:vhost) or configure accordingly. */
    s_client.user_name = NULL;
    s_client.password = NULL;

    s_client.rx_buf = s_rx_buf;
    s_client.rx_buf_size = sizeof(s_rx_buf);
    s_client.tx_buf = s_tx_buf;
    s_client.tx_buf_size = sizeof(s_tx_buf);

    int rc = mqtt_connect(&s_client);
    if (rc != 0)
    {
        LOG_ERR("mqtt_connect failed: %d", rc);
        return MQTT_ERR_CONNECT;
    }

    /* Wait for CONNACK (up to CONNECT_TIMEOUT_MS) */
    if (k_sem_take(&s_connack_sem, K_MSEC(CONNECT_TIMEOUT_MS)) != 0)
    {
        LOG_ERR("MQTT CONNACK timeout");
        return MQTT_ERR_CONNECT;
    }

    LOG_INF("MQTT initialised. Broker: %s:%d", broker_addr, broker_port);
    return MQTT_OK;
}

mqtt_result_t mqtt_handler_subscribe_routes(void)
{
    char topic_buf[TOPIC_BUF_SIZE];
    make_topic(topic_buf, sizeof(topic_buf), "routes");

    struct mqtt_topic topics[] = {
        {
            .topic = {.utf8 = (uint8_t*)topic_buf, .size = strlen(topic_buf)},
            .qos = MQTT_QOS_1_AT_LEAST_ONCE,
        },
    };

    struct mqtt_subscription_list sub = {
        .list = topics,
        .list_count = ARRAY_SIZE(topics),
        .message_id = 1,
    };

    k_mutex_lock(&s_mqtt_mutex, K_FOREVER);
    int rc = mqtt_subscribe(&s_client, &sub);
    k_mutex_unlock(&s_mqtt_mutex);

    if (rc != 0)
    {
        LOG_ERR("mqtt_subscribe failed: %d", rc);
        return MQTT_ERR_SUBSCRIBE;
    }

    LOG_INF("Subscribed to: %s", topic_buf);
    return MQTT_OK;
}

mqtt_result_t mqtt_handler_publish_tracking(int32_t lat_e6, int32_t lon_e6, bool fix_valid)
{
    if (!fix_valid)
    {
        LOG_WRN("GPS: no fix — skipping tracking publish");
        return MQTT_OK; /* Not an error; will retry on next tick */
    }

    char ts[32];
    get_timestamp(ts, sizeof(ts));

    char payload[PAYLOAD_BUF_SIZE];
    /* lat/lon in decimal degrees from fixed-point */
    snprintf(payload, sizeof(payload), "{\"lat\":%d.%06d,\"lon\":%d.%06d,\"ts\":\"%s\"}", (int)(lat_e6 / 1000000),
             (int)abs(lat_e6 % 1000000), (int)(lon_e6 / 1000000), (int)abs(lon_e6 % 1000000), ts);

    char topic[TOPIC_BUF_SIZE];
    make_topic(topic, sizeof(topic), "tracking");

    struct mqtt_publish_param msg = {
        .message =
            {
                .topic =
                    {
                        .topic = {.utf8 = (uint8_t*)topic, .size = strlen(topic)},
                        .qos = MQTT_QOS_0_AT_MOST_ONCE,
                    },
                .payload = {.data = (uint8_t*)payload, .len = strlen(payload)},
            },
        .message_id = k_uptime_get_32() & 0xFFFF,
        .dup_flag = 0,
        .retain_flag = 0,
    };

    k_mutex_lock(&s_mqtt_mutex, K_FOREVER);
    int rc = mqtt_publish(&s_client, &msg);
    k_mutex_unlock(&s_mqtt_mutex);

    if (rc != 0)
    {
        LOG_ERR("Tracking publish failed: %d", rc);
        return MQTT_ERR_PUBLISH;
    }
    LOG_DBG("Tracking published: %s", payload);
    return MQTT_OK;
}

mqtt_result_t mqtt_handler_publish_sos(int32_t lat_e6, int32_t lon_e6)
{
    char ts[32];
    get_timestamp(ts, sizeof(ts));

    char payload[PAYLOAD_BUF_SIZE];
    snprintf(payload, sizeof(payload), "{\"lat\":%d.%06d,\"lon\":%d.%06d,\"ts\":\"%s\"}", (int)(lat_e6 / 1000000),
             (int)abs(lat_e6 % 1000000), (int)(lon_e6 / 1000000), (int)abs(lon_e6 % 1000000), ts);

    char topic[TOPIC_BUF_SIZE];
    make_topic_sos(topic, sizeof(topic));

    /* QoS 1 — at-least-once: SOS must not be silently dropped */
    struct mqtt_publish_param msg = {
        .message =
            {
                .topic =
                    {
                        .topic = {.utf8 = (uint8_t*)topic, .size = strlen(topic)},
                        .qos = MQTT_QOS_1_AT_LEAST_ONCE,
                    },
                .payload = {.data = (uint8_t*)payload, .len = strlen(payload)},
            },
        .message_id = k_uptime_get_32() & 0xFFFF,
        .dup_flag = 0,
        .retain_flag = 0,
    };

    k_mutex_lock(&s_mqtt_mutex, K_FOREVER);
    int rc = mqtt_publish(&s_client, &msg);
    k_mutex_unlock(&s_mqtt_mutex);

    if (rc != 0)
    {
        LOG_ERR("SOS publish failed: %d", rc);
        return MQTT_ERR_PUBLISH;
    }
    LOG_WRN("SOS PUBLISHED: %s", payload);
    return MQTT_OK;
}

mqtt_result_t mqtt_handler_publish_delivered(const char* stop_name)
{
    char payload[PAYLOAD_BUF_SIZE];
    snprintf(payload, sizeof(payload), "{\"stop\":\"%s\",\"status\":\"done\"}", stop_name);

    char topic[TOPIC_BUF_SIZE];
    make_topic(topic, sizeof(topic), "delivered");

    struct mqtt_publish_param msg = {
        .message =
            {
                .topic =
                    {
                        .topic = {.utf8 = (uint8_t*)topic, .size = strlen(topic)},
                        .qos = MQTT_QOS_1_AT_LEAST_ONCE,
                    },
                .payload = {.data = (uint8_t*)payload, .len = strlen(payload)},
            },
        .message_id = k_uptime_get_32() & 0xFFFF,
        .dup_flag = 0,
        .retain_flag = 0,
    };

    k_mutex_lock(&s_mqtt_mutex, K_FOREVER);
    int rc = mqtt_publish(&s_client, &msg);
    k_mutex_unlock(&s_mqtt_mutex);

    if (rc != 0)
    {
        LOG_ERR("Delivered publish failed: %d", rc);
        return MQTT_ERR_PUBLISH;
    }
    LOG_INF("Delivered published: stop=%s", stop_name);
    return MQTT_OK;
}

void mqtt_handler_task(void* p1, void* p2, void* p3)
{
    ARG_UNUSED(p1);
    ARG_UNUSED(p2);
    ARG_UNUSED(p3);

    LOG_INF("MQTT handler task started");

    while (1)
    {
        k_mutex_lock(&s_mqtt_mutex, K_FOREVER);
        int rc = mqtt_input(&s_client);
        k_mutex_unlock(&s_mqtt_mutex);

        if (rc != 0 && rc != -EAGAIN)
        {
            LOG_ERR("mqtt_input error: %d — reconnecting in 5s", rc);
            k_sleep(K_SECONDS(5));
            /* Re-connect */
            mqtt_handler_init(MQTT_BROKER_ADDR, MQTT_BROKER_PORT, s_employee_id);
            mqtt_handler_subscribe_routes();
            continue;
        }

        k_mutex_lock(&s_mqtt_mutex, K_FOREVER);
        mqtt_live(&s_client);
        k_mutex_unlock(&s_mqtt_mutex);

        k_sleep(K_MSEC(100));
    }
}

#else /* COURIER_SIMULATION */

/* ---------------------------------------------------------------------------
 * MQTT simulation mode
 * ------------------------------------------------------------------------- */

#ifdef MQTT_BACKEND_MOSQUITTO

static struct mosquitto* s_mosq;
static bool s_connected;
static bool s_requested_route_sub;

static void sim_on_connect(struct mosquitto* mosq, void* obj, int rc)
{
    ARG_UNUSED(obj);

    if (rc != 0)
    {
        LOG_ERR("[SIM] MQTT connect failed: rc=%d", rc);
        s_connected = false;
        return;
    }

    s_connected = true;
    LOG_INF("[SIM] MQTT connected");

    if (s_requested_route_sub)
    {
        char topic[TOPIC_BUF_SIZE];
        make_topic(topic, sizeof(topic), "routes");
        if (mosquitto_subscribe(mosq, NULL, topic, 1) == MOSQ_ERR_SUCCESS)
        {
            LOG_INF("[SIM] Subscribed to %s", topic);
        }
        else
        {
            LOG_ERR("[SIM] Failed to subscribe to %s", topic);
        }
    }
}

static void sim_on_message(struct mosquitto* mosq, void* obj, const struct mosquitto_message* msg)
{
    ARG_UNUSED(mosq);
    ARG_UNUSED(obj);

    if (msg == NULL || msg->topic == NULL || msg->payload == NULL || msg->payloadlen <= 0)
    {
        return;
    }

    char routes_topic[TOPIC_BUF_SIZE];
    make_topic(routes_topic, sizeof(routes_topic), "routes");

    if (strcmp(msg->topic, routes_topic) == 0)
    {
        parse_and_store_route((const char*)msg->payload, (size_t)msg->payloadlen);
    }
}

mqtt_result_t mqtt_handler_init(const char* broker_addr, uint16_t broker_port, const char* employee_id)
{
    strncpy(s_employee_id, employee_id, MAX_EMPLOYEE_ID - 1);
    s_employee_id[MAX_EMPLOYEE_ID - 1] = '\0';

    s_connected = false;
    s_requested_route_sub = false;

    if (mosquitto_lib_init() != MOSQ_ERR_SUCCESS)
    {
        LOG_ERR("[SIM] mosquitto_lib_init failed");
        return MQTT_ERR_CONNECT;
    }

    s_mosq = mosquitto_new(s_employee_id, true, NULL);
    if (s_mosq == NULL)
    {
        LOG_ERR("[SIM] mosquitto_new failed");
        return MQTT_ERR_CONNECT;
    }

    mosquitto_connect_callback_set(s_mosq, sim_on_connect);
    mosquitto_message_callback_set(s_mosq, sim_on_message);

    if (mosquitto_connect_async(s_mosq, broker_addr, (int)broker_port, 60) != MOSQ_ERR_SUCCESS)
    {
        LOG_ERR("[SIM] connect_async failed: %s:%d", broker_addr, (int)broker_port);
        return MQTT_ERR_CONNECT;
    }

    if (mosquitto_loop_start(s_mosq) != MOSQ_ERR_SUCCESS)
    {
        LOG_ERR("[SIM] mosquitto_loop_start failed");
        return MQTT_ERR_CONNECT;
    }

    LOG_INF("[SIM] MQTT init: broker=%s:%d employee=%s", broker_addr, (int)broker_port, employee_id);
    return MQTT_OK;
}

mqtt_result_t mqtt_handler_subscribe_routes(void)
{
    char topic[TOPIC_BUF_SIZE];
    make_topic(topic, sizeof(topic), "routes");
    s_requested_route_sub = true;

    if (!s_mosq)
    {
        return MQTT_ERR_SUBSCRIBE;
    }

    /* If already connected, subscribe immediately; otherwise callback subscribes on connect. */
    if (s_connected)
    {
        if (mosquitto_subscribe(s_mosq, NULL, topic, 1) != MOSQ_ERR_SUCCESS)
        {
            LOG_ERR("[SIM] Failed to subscribe to %s", topic);
            return MQTT_ERR_SUBSCRIBE;
        }
        LOG_INF("[SIM] Subscribed to %s", topic);
    }
    else
    {
        LOG_INF("[SIM] Will subscribe to %s after connect", topic);
    }

    return MQTT_OK;
}

mqtt_result_t mqtt_handler_publish_tracking(int32_t lat_e6, int32_t lon_e6, bool fix_valid)
{
    if (!fix_valid)
    {
        LOG_WRN("[SIM] GPS: no fix");
        return MQTT_OK;
    }

    if (!s_mosq)
    {
        return MQTT_ERR_PUBLISH;
    }

    char ts[32];
    char payload[PAYLOAD_BUF_SIZE];
    char topic[TOPIC_BUF_SIZE];

    get_timestamp(ts, sizeof(ts));
    make_topic(topic, sizeof(topic), "tracking");

    snprintf(payload, sizeof(payload), "{\"lat\":%d.%06d,\"lon\":%d.%06d,\"ts\":\"%s\"}", (int)(lat_e6 / 1000000),
             (int)abs(lat_e6 % 1000000), (int)(lon_e6 / 1000000), (int)abs(lon_e6 % 1000000), ts);

    if (mosquitto_publish(s_mosq, NULL, topic, (int)strlen(payload), payload, 0, false) != MOSQ_ERR_SUCCESS)
    {
        return MQTT_ERR_PUBLISH;
    }

    return MQTT_OK;
}

mqtt_result_t mqtt_handler_publish_sos(int32_t lat_e6, int32_t lon_e6)
{
    if (!s_mosq)
    {
        return MQTT_ERR_PUBLISH;
    }

    char ts[32];
    char payload[PAYLOAD_BUF_SIZE];
    char topic[TOPIC_BUF_SIZE];

    get_timestamp(ts, sizeof(ts));
    make_topic_sos(topic, sizeof(topic));

    snprintf(payload, sizeof(payload), "{\"lat\":%d.%06d,\"lon\":%d.%06d,\"ts\":\"%s\"}", (int)(lat_e6 / 1000000),
             (int)abs(lat_e6 % 1000000), (int)(lon_e6 / 1000000), (int)abs(lon_e6 % 1000000), ts);

    if (mosquitto_publish(s_mosq, NULL, topic, (int)strlen(payload), payload, 1, false) != MOSQ_ERR_SUCCESS)
    {
        return MQTT_ERR_PUBLISH;
    }

    return MQTT_OK;
}

mqtt_result_t mqtt_handler_publish_delivered(const char* stop_name)
{
    if (!s_mosq)
    {
        return MQTT_ERR_PUBLISH;
    }

    char payload[PAYLOAD_BUF_SIZE];
    char topic[TOPIC_BUF_SIZE];

    make_topic(topic, sizeof(topic), "delivered");
    snprintf(payload, sizeof(payload), "{\"stop\":\"%s\",\"status\":\"done\"}", stop_name);

    if (mosquitto_publish(s_mosq, NULL, topic, (int)strlen(payload), payload, 1, false) != MOSQ_ERR_SUCCESS)
    {
        return MQTT_ERR_PUBLISH;
    }

    return MQTT_OK;
}

void mqtt_handler_task(void* p1, void* p2, void* p3)
{
    ARG_UNUSED(p1);
    ARG_UNUSED(p2);
    ARG_UNUSED(p3);
    LOG_INF("[SIM] MQTT task running via mosquitto loop thread");
}

#else

/* ---------------------------------------------------------------------------
 * MQTT stubs when libmosquitto is not available.
 * ------------------------------------------------------------------------- */

mqtt_result_t mqtt_handler_init(const char* broker_addr, uint16_t broker_port, const char* employee_id)
{
    strncpy(s_employee_id, employee_id, MAX_EMPLOYEE_ID - 1);
    s_employee_id[MAX_EMPLOYEE_ID - 1] = '\0';
    LOG_INF("[SIM-STUB] MQTT init: broker=%s:%d employee=%s", broker_addr, broker_port, employee_id);
    return MQTT_OK;
}

mqtt_result_t mqtt_handler_subscribe_routes(void)
{
    LOG_INF("[SIM-STUB] MQTT subscribe to routes/%s", s_employee_id);
    return MQTT_OK;
}

mqtt_result_t mqtt_handler_publish_tracking(int32_t lat_e6, int32_t lon_e6, bool fix_valid)
{
    ARG_UNUSED(lat_e6);
    ARG_UNUSED(lon_e6);
    ARG_UNUSED(fix_valid);
    return MQTT_OK;
}

mqtt_result_t mqtt_handler_publish_sos(int32_t lat_e6, int32_t lon_e6)
{
    ARG_UNUSED(lat_e6);
    ARG_UNUSED(lon_e6);
    return MQTT_OK;
}

mqtt_result_t mqtt_handler_publish_delivered(const char* stop_name)
{
    ARG_UNUSED(stop_name);
    return MQTT_OK;
}

void mqtt_handler_task(void* p1, void* p2, void* p3)
{
    ARG_UNUSED(p1);
    ARG_UNUSED(p2);
    ARG_UNUSED(p3);
    LOG_INF("[SIM-STUB] MQTT handler task (no-op)");
}

#endif

#endif /* COURIER_SIMULATION */
```
